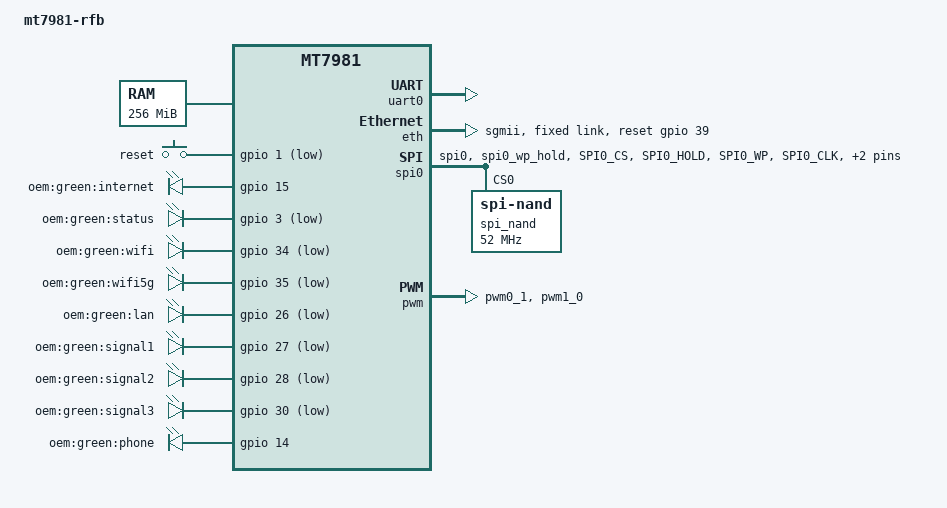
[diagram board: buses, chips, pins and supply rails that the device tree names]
// SPDX-License-Identifier: GPL-2.0
/*
 * Copyright (c) 2021 MediaTek Inc.
 * Author: Sam Shih <sam.shih@mediatek.com>
 */

/dts-v1/;
#include "mt7981.dtsi"
#include <dt-bindings/gpio/gpio.h>

/ {
	#address-cells = <1>;
	#size-cells = <1>;
	model = "mt7981-rfb";
	compatible = "mediatek,mt7981", "mediatek,mt7981-rfb";
	chosen {
		stdout-path = &uart0;
		tick-timer = &timer0;
	};

	memory@40000000 {
		device_type = "memory";
		reg = <0x40000000 0x10000000>;
	};

	config {
		system_led = "oem:green:status";
		reset_led = "oem:green:internet";
	};

	gpio-keys-polled {
		compatible = "gpio-keys";

		reset-button {
			label = "reset";
			gpios = <&gpio 1 GPIO_ACTIVE_LOW>;
		};
	};

	leds {
		compatible = "gpio-leds";

		led@0 {
			label = "oem:green:internet";
			gpios = <&gpio 15 GPIO_ACTIVE_HIGH>;
		};

		led@1 {
			label = "oem:green:status";
			gpios = <&gpio 3 GPIO_ACTIVE_LOW>;
		};

		led@2 {
			label = "oem:green:wifi";
			gpios = <&gpio 34 GPIO_ACTIVE_LOW>;
		};

		led@3 {
			label = "oem:green:wifi5g";
			gpios = <&gpio 35 GPIO_ACTIVE_LOW>;
		};

		led@4 {
			label = "oem:green:lan";
			gpios = <&gpio 26 GPIO_ACTIVE_LOW>;
		};
		
		led@5 {
			label = "oem:green:signal1";
			gpios = <&gpio 27 GPIO_ACTIVE_LOW>;
		};

		led@6 {
			label = "oem:green:signal2";
			gpios = <&gpio 28 GPIO_ACTIVE_LOW>;
		};

		led@7 {
			label = "oem:green:signal3";
			gpios = <&gpio 30 GPIO_ACTIVE_LOW>;
		};
		
		led@8 {
			label = "oem:green:phone";
			gpios = <&gpio 14 GPIO_ACTIVE_HIGH>;
		};
	};
};

&uart0 {
	status = "okay";
};

&uart1 {
	pinctrl-names = "default";
	pinctrl-0 = <&uart1_pins>;
	status = "disabled";
};

&eth {
	status = "okay";
	mediatek,gmac-id = <0>;
	phy-mode = "sgmii";
	mediatek,switch = "mt7531";
	reset-gpios = <&gpio 39 GPIO_ACTIVE_HIGH>;

	fixed-link {
		speed = <1000>;
		full-duplex;
	};
};

&pinctrl {
	spi_flash_pins: spi0-pins-func-1 {
		mux {
			function = "flash";
			groups = "spi0", "spi0_wp_hold";
		};

		conf-pu {
			pins = "SPI0_CS", "SPI0_HOLD", "SPI0_WP";
			drive-strength = <MTK_DRIVE_8mA>;
			bias-pull-up = <MTK_PUPD_SET_R1R0_11>;
		};

		conf-pd {
			pins = "SPI0_CLK", "SPI0_MOSI", "SPI0_MISO";
			drive-strength = <MTK_DRIVE_8mA>;
			bias-pull-down = <MTK_PUPD_SET_R1R0_11>;
		};
	};

	spic_pins: spi1-pins-func-1 {
		mux {
			function = "spi";
			groups = "spi1_1";
		};
	};

	uart1_pins: spi1-pins-func-3 {
		mux {
			function = "uart";
			groups = "uart1_2";
		};
	};

	/* pin15 as pwm0 */
	one_pwm_pins: one-pwm-pins {
		mux {
			function = "pwm";
			groups = "pwm0_1";
		};
	};

	/* pin15 as pwm0 and pin14 as pwm1 */
	two_pwm_pins: two-pwm-pins {
		mux {
			function = "pwm";
			groups = "pwm0_1", "pwm1_0";
		};
	};

	/* pin15 as pwm0, pin14 as pwm1, pin7 as pwm2 */
	three_pwm_pins: three-pwm-pins {
		mux {
			function = "pwm";
			groups = "pwm0_1", "pwm1_0", "pwm2";
		};
	};
};

&spi0 {
	#address-cells = <1>;
	#size-cells = <0>;
	pinctrl-names = "default";
	pinctrl-0 = <&spi_flash_pins>;
	status = "okay";
	must_tx;
	enhance_timing;
	dma_ext;
	ipm_design;
	support_quad;
	tick_dly = <2>;
	sample_sel = <0>;

	spi_nand@0 {
		compatible = "spi-nand";
		reg = <0>;
		spi-max-frequency = <52000000>;
	};
};

&pwm {
	pinctrl-names = "default";
	pinctrl-0 = <&two_pwm_pins>;
	status = "okay";
};

&watchdog {
	status = "disabled";
};
